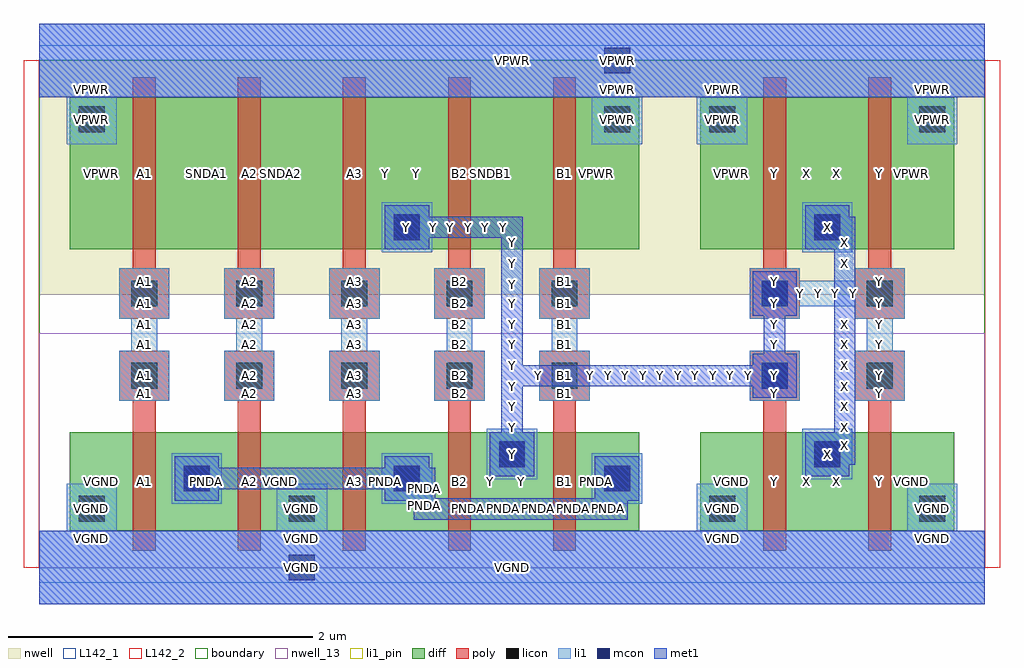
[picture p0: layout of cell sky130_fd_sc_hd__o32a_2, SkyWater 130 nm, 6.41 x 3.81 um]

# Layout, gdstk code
import gdstk
lib = gdstk.Library(unit=1e-6, precision=1e-09)
def R(c, l, rs):  # rectangles x0, y0, x1, y1
    for r in rs: c.add(gdstk.rectangle(r[:2], r[2:], *l))
def A(c, l, x, y, w, h, nx, ny, dx, dy):  # array of equal rectangles
    R(c, l, [(x+i*dx, y+j*dy, x+i*dx+w, y+j*dy+h) for i in range(nx) for j in range(ny)])
def P(c, l, *ps):  # polygons
    for p in ps: c.add(gdstk.Polygon(p, *l))
nwell_13 = (64, 13)
nwell = (64, 20)
diff = (65, 20)
poly = (66, 20)
licon = (66, 44)
li1_pin = (67, 16)
li1 = (67, 20)
mcon = (67, 44)
met1 = (68, 20)
L142_1 = (142, 1)
L142_2 = (142, 2)
boundary = (235, 4)

sky130_fd_sc_hd__o32a_2 = lib.new_cell('sky130_fd_sc_hd__o32a_2')
R(sky130_fd_sc_hd__o32a_2, nwell_13, [(0,0,6.21,1.54)])
R(sky130_fd_sc_hd__o32a_2, nwell, [(0,1.79,6.21,3.33)])
A(sky130_fd_sc_hd__o32a_2, diff, 0.615, 0.24, 0.69, 0.65, 4, 1, 0.69, 0)
A(sky130_fd_sc_hd__o32a_2, diff, 0.615, 2.09, 0.69, 1, 4, 1, 0.69, 0)
R(sky130_fd_sc_hd__o32a_2, diff, [(0.2,0.24,3.94,0.89), (0.2,0.24,0.615,0.89), (3.375,0.24,3.94,0.89), (4.34,0.24,6.01,0.89), (4.34,0.24,4.755,0.89), (4.755,0.24,5.445,0.89), (5.445,0.24,6.01,0.89), (0.2,2.09,3.94,3.09), (0.2,2.09,0.615,3.09), (3.375,2.09,3.94,3.09), (4.34,2.09,6.01,3.09), (4.34,2.09,4.755,3.09), (4.755,2.09,5.445,3.09), (5.445,2.09,6.01,3.09)])
P(sky130_fd_sc_hd__o32a_2, poly, [(2.685,0.11),(2.685,1.095),(2.595,1.095),(2.595,1.425),(2.925,1.425),(2.925,1.095),(2.835,1.095),(2.835,0.11)],
  [(2.595,1.635),(2.595,1.965),(2.685,1.965),(2.685,3.22),(2.835,3.22),(2.835,1.965),(2.925,1.965),(2.925,1.635)],
  [(4.755,0.11),(4.755,1.095),(4.665,1.095),(4.665,1.425),(4.995,1.425),(4.995,1.095),(4.905,1.095),(4.905,0.11)],
  [(5.445,0.11),(5.445,1.095),(5.355,1.095),(5.355,1.425),(5.685,1.425),(5.685,1.095),(5.595,1.095),(5.595,0.11)],
  [(4.665,1.635),(4.665,1.965),(4.755,1.965),(4.755,3.22),(4.905,3.22),(4.905,1.965),(4.995,1.965),(4.995,1.635)],
  [(5.355,1.635),(5.355,1.965),(5.445,1.965),(5.445,3.22),(5.595,3.22),(5.595,1.965),(5.685,1.965),(5.685,1.635)],
  [(1.305,0.11),(1.305,1.095),(1.215,1.095),(1.215,1.425),(1.545,1.425),(1.545,1.095),(1.455,1.095),(1.455,0.11)],
  [(1.215,1.635),(1.215,1.965),(1.305,1.965),(1.305,3.22),(1.455,3.22),(1.455,1.965),(1.545,1.965),(1.545,1.635)],
  [(0.615,0.11),(0.615,1.095),(0.525,1.095),(0.525,1.425),(0.855,1.425),(0.855,1.095),(0.765,1.095),(0.765,0.11)],
  [(0.525,1.635),(0.525,1.965),(0.615,1.965),(0.615,3.22),(0.765,3.22),(0.765,1.965),(0.855,1.965),(0.855,1.635)],
  [(1.995,0.11),(1.995,1.095),(1.905,1.095),(1.905,1.425),(2.235,1.425),(2.235,1.095),(2.145,1.095),(2.145,0.11)],
  [(1.905,1.635),(1.905,1.965),(1.995,1.965),(1.995,3.22),(2.145,3.22),(2.145,1.965),(2.235,1.965),(2.235,1.635)],
  [(3.375,0.11),(3.375,1.095),(3.285,1.095),(3.285,1.425),(3.615,1.425),(3.615,1.095),(3.525,1.095),(3.525,0.11)],
  [(3.285,1.635),(3.285,1.965),(3.375,1.965),(3.375,3.22),(3.525,3.22),(3.525,1.965),(3.615,1.965),(3.615,1.635)])
A(sky130_fd_sc_hd__o32a_2, licon, 0.95, 0.5, 0.17, 0.17, 3, 1, 1.38, 0)
A(sky130_fd_sc_hd__o32a_2, licon, 0.605, 1.175, 0.17, 0.17, 5, 2, 0.69, 0.54)
R(sky130_fd_sc_hd__o32a_2, licon, [(0.26,0.3,0.43,0.47), (1.64,0.3,1.81,0.47), (4.4,0.3,4.57,0.47), (5.78,0.3,5.95,0.47), (3.02,0.66,3.19,0.83), (5.09,0.66,5.26,0.83), (4.745,1.175,4.915,1.345), (5.435,1.175,5.605,1.345), (4.745,1.715,4.915,1.885), (5.435,1.715,5.605,1.885), (2.33,2.15,2.5,2.32), (5.09,2.15,5.26,2.32), (0.26,2.86,0.43,3.03), (3.71,2.86,3.88,3.03), (4.4,2.86,4.57,3.03), (5.78,2.86,5.95,3.03)])
R(sky130_fd_sc_hd__o32a_2, li1_pin, [(0,-0.24,6.21,0.24), (5.01,0.58,5.34,0.91), (0,3.09,6.21,3.57)])
P(sky130_fd_sc_hd__o32a_2, li1_pin, [(1.215,1.095),(1.215,1.425),(1.295,1.425),(1.295,1.635),(1.215,1.635),(1.215,1.965),(1.545,1.965),(1.545,1.635),(1.465,1.635),(1.465,1.425),(1.545,1.425),(1.545,1.095)],
  [(1.905,1.095),(1.905,1.425),(1.985,1.425),(1.985,1.635),(1.905,1.635),(1.905,1.965),(2.235,1.965),(2.235,1.635),(2.155,1.635),(2.155,1.425),(2.235,1.425),(2.235,1.095)],
  [(2.595,1.095),(2.595,1.425),(2.675,1.425),(2.675,1.635),(2.595,1.635),(2.595,1.965),(2.925,1.965),(2.925,1.635),(2.845,1.635),(2.845,1.425),(2.925,1.425),(2.925,1.095)],
  [(0.525,1.095),(0.525,1.425),(0.605,1.425),(0.605,1.635),(0.525,1.635),(0.525,1.965),(0.855,1.965),(0.855,1.635),(0.775,1.635),(0.775,1.425),(0.855,1.425),(0.855,1.095)],
  [(3.285,1.095),(3.285,1.425),(3.365,1.425),(3.365,1.635),(3.285,1.635),(3.285,1.965),(3.615,1.965),(3.615,1.635),(3.535,1.635),(3.535,1.425),(3.615,1.425),(3.615,1.095)])
A(sky130_fd_sc_hd__o32a_2, li1, 0.87, 0.42, 0.33, 0.33, 3, 1, 1.38, 0)
R(sky130_fd_sc_hd__o32a_2, li1, [(2.94,0.58,3.27,0.91), (5.01,0.58,5.34,0.91), (4.665,1.095,4.995,1.425), (2.25,2.07,2.58,2.4), (5.01,2.07,5.34,2.4)])
P(sky130_fd_sc_hd__o32a_2, li1, [(2.595,1.095),(2.595,1.425),(2.675,1.425),(2.675,1.635),(2.595,1.635),(2.595,1.965),(2.925,1.965),(2.925,1.635),(2.845,1.635),(2.845,1.425),(2.925,1.425),(2.925,1.095)],
  [(5.355,1.095),(5.355,1.425),(5.435,1.425),(5.435,1.635),(5.355,1.635),(5.355,1.715),(4.995,1.715),(4.995,1.635),(4.665,1.635),(4.665,1.965),(4.995,1.965),(4.995,1.885),(5.355,1.885),(5.355,1.965),(5.685,1.965),(5.685,1.635),(5.605,1.635),(5.605,1.425),(5.685,1.425),(5.685,1.095)],
  [(1.215,1.095),(1.215,1.425),(1.295,1.425),(1.295,1.635),(1.215,1.635),(1.215,1.965),(1.545,1.965),(1.545,1.635),(1.465,1.635),(1.465,1.425),(1.545,1.425),(1.545,1.095)],
  [(0.18,2.78),(0.18,3.09),(0,3.09),(0,3.57),(6.21,3.57),(6.21,3.09),(6.03,3.09),(6.03,2.78),(5.7,2.78),(5.7,3.09),(4.65,3.09),(4.65,2.78),(4.32,2.78),(4.32,3.09),(3.96,3.09),(3.96,2.78),(3.63,2.78),(3.63,3.09),(0.51,3.09),(0.51,2.78)],
  [(0.525,1.095),(0.525,1.425),(0.605,1.425),(0.605,1.635),(0.525,1.635),(0.525,1.965),(0.855,1.965),(0.855,1.635),(0.775,1.635),(0.775,1.425),(0.855,1.425),(0.855,1.095)],
  [(0,-0.24),(0,0.24),(0.18,0.24),(0.18,0.55),(0.51,0.55),(0.51,0.24),(1.56,0.24),(1.56,0.55),(1.89,0.55),(1.89,0.24),(4.32,0.24),(4.32,0.55),(4.65,0.55),(4.65,0.24),(5.7,0.24),(5.7,0.55),(6.03,0.55),(6.03,0.24),(6.21,0.24),(6.21,-0.24)],
  [(1.905,1.095),(1.905,1.425),(1.985,1.425),(1.985,1.635),(1.905,1.635),(1.905,1.965),(2.235,1.965),(2.235,1.635),(2.155,1.635),(2.155,1.425),(2.235,1.425),(2.235,1.095)],
  [(3.285,1.095),(3.285,1.425),(3.365,1.425),(3.365,1.635),(3.285,1.635),(3.285,1.965),(3.615,1.965),(3.615,1.635),(3.535,1.635),(3.535,1.425),(3.615,1.425),(3.615,1.095)])
A(sky130_fd_sc_hd__o32a_2, mcon, 0.95, 0.5, 0.17, 0.17, 3, 1, 1.38, 0)
R(sky130_fd_sc_hd__o32a_2, mcon, [(1.64,-0.085,1.81,0.085), (3.02,0.66,3.19,0.83), (5.09,0.66,5.26,0.83), (4.745,1.175,4.915,1.345), (4.745,1.715,4.915,1.885), (2.33,2.15,2.5,2.32), (5.09,2.15,5.26,2.32), (3.71,3.245,3.88,3.415)])
R(sky130_fd_sc_hd__o32a_2, met1, [(0,-0.24,6.21,0.24), (0,3.09,6.21,3.57)])
P(sky130_fd_sc_hd__o32a_2, met1, [(2.96,0.6),(2.96,0.89),(3.035,0.89),(3.035,2.165),(2.56,2.165),(2.56,2.09),(2.27,2.09),(2.27,2.38),(2.56,2.38),(2.56,2.305),(3.175,2.305),(3.175,1.33),(4.685,1.33),(4.685,1.405),(4.76,1.405),(4.76,1.655),(4.685,1.655),(4.685,1.945),(4.975,1.945),(4.975,1.655),(4.9,1.655),(4.9,1.405),(4.975,1.405),(4.975,1.115),(4.685,1.115),(4.685,1.19),(3.175,1.19),(3.175,0.89),(3.25,0.89),(3.25,0.6)],
  [(2.46,0.315),(2.46,0.44),(2.27,0.44),(2.27,0.515),(1.18,0.515),(1.18,0.44),(0.89,0.44),(0.89,0.73),(1.18,0.73),(1.18,0.655),(2.27,0.655),(2.27,0.73),(2.56,0.73),(2.56,0.655),(2.6,0.655),(2.6,0.455),(3.65,0.455),(3.65,0.73),(3.94,0.73),(3.94,0.44),(3.865,0.44),(3.865,0.315)],
  [(5.03,0.6),(5.03,0.89),(5.22,0.89),(5.22,2.09),(5.03,2.09),(5.03,2.38),(5.32,2.38),(5.32,2.305),(5.36,2.305),(5.36,0.675),(5.32,0.675),(5.32,0.6)])
R(sky130_fd_sc_hd__o32a_2, L142_1, [(0,-0.1,6.21,0), (0,3.33,6.21,3.43)])
R(sky130_fd_sc_hd__o32a_2, L142_2, [(-0.1,0,0,3.33), (6.21,0,6.31,3.33)])
R(sky130_fd_sc_hd__o32a_2, boundary, [(0,0,6.21,3.33)])
sky130_fd_sc_hd__o32a_2.add(gdstk.Label('PNDA', (1.097,0.565), layer=65, texttype=20))
sky130_fd_sc_hd__o32a_2.add(gdstk.Label('VGND', (1.587,0.565), layer=65, texttype=20))
sky130_fd_sc_hd__o32a_2.add(gdstk.Label('VGND', (4.547,0.565), layer=65, texttype=20))
sky130_fd_sc_hd__o32a_2.add(gdstk.Label('X', (5.037,0.565), layer=65, texttype=20))
sky130_fd_sc_hd__o32a_2.add(gdstk.Label('VGND', (0.407,0.565), layer=65, texttype=20))
sky130_fd_sc_hd__o32a_2.add(gdstk.Label('PNDA', (0.897,0.565), layer=65, texttype=20))
sky130_fd_sc_hd__o32a_2.add(gdstk.Label('VGND', (1.787,0.565), layer=65, texttype=20))
sky130_fd_sc_hd__o32a_2.add(gdstk.Label('PNDA', (2.277,0.565), layer=65, texttype=20))
sky130_fd_sc_hd__o32a_2.add(gdstk.Label('X', (5.237,0.565), layer=65, texttype=20))
sky130_fd_sc_hd__o32a_2.add(gdstk.Label('VGND', (5.727,0.565), layer=65, texttype=20))
sky130_fd_sc_hd__o32a_2.add(gdstk.Label('PNDA', (2.477,0.565), layer=65, texttype=20))
sky130_fd_sc_hd__o32a_2.add(gdstk.Label('Y', (2.967,0.565), layer=65, texttype=20))
sky130_fd_sc_hd__o32a_2.add(gdstk.Label('Y', (3.167,0.565), layer=65, texttype=20))
sky130_fd_sc_hd__o32a_2.add(gdstk.Label('PNDA', (3.657,0.565), layer=65, texttype=20))
sky130_fd_sc_hd__o32a_2.add(gdstk.Label('PNDA', (1.097,0.565), layer=65, texttype=20))
sky130_fd_sc_hd__o32a_2.add(gdstk.Label('VGND', (1.587,0.565), layer=65, texttype=20))
sky130_fd_sc_hd__o32a_2.add(gdstk.Label('VGND', (4.547,0.565), layer=65, texttype=20))
sky130_fd_sc_hd__o32a_2.add(gdstk.Label('X', (5.037,0.565), layer=65, texttype=20))
sky130_fd_sc_hd__o32a_2.add(gdstk.Label('VGND', (0.407,0.565), layer=65, texttype=20))
sky130_fd_sc_hd__o32a_2.add(gdstk.Label('PNDA', (0.897,0.565), layer=65, texttype=20))
sky130_fd_sc_hd__o32a_2.add(gdstk.Label('VGND', (1.787,0.565), layer=65, texttype=20))
sky130_fd_sc_hd__o32a_2.add(gdstk.Label('PNDA', (2.277,0.565), layer=65, texttype=20))
sky130_fd_sc_hd__o32a_2.add(gdstk.Label('X', (5.237,0.565), layer=65, texttype=20))
sky130_fd_sc_hd__o32a_2.add(gdstk.Label('VGND', (5.727,0.565), layer=65, texttype=20))
sky130_fd_sc_hd__o32a_2.add(gdstk.Label('PNDA', (2.477,0.565), layer=65, texttype=20))
sky130_fd_sc_hd__o32a_2.add(gdstk.Label('Y', (2.967,0.565), layer=65, texttype=20))
sky130_fd_sc_hd__o32a_2.add(gdstk.Label('Y', (3.167,0.565), layer=65, texttype=20))
sky130_fd_sc_hd__o32a_2.add(gdstk.Label('PNDA', (3.657,0.565), layer=65, texttype=20))
sky130_fd_sc_hd__o32a_2.add(gdstk.Label('PNDA', (1.035,0.585), layer=65, texttype=20))
sky130_fd_sc_hd__o32a_2.add(gdstk.Label('PNDA', (2.415,0.585), layer=65, texttype=20))
sky130_fd_sc_hd__o32a_2.add(gdstk.Label('PNDA', (3.795,0.585), layer=65, texttype=20))
sky130_fd_sc_hd__o32a_2.add(gdstk.Label('VGND', (1.725,0.385), layer=65, texttype=20))
sky130_fd_sc_hd__o32a_2.add(gdstk.Label('VGND', (5.865,0.385), layer=65, texttype=20))
sky130_fd_sc_hd__o32a_2.add(gdstk.Label('VGND', (4.485,0.385), layer=65, texttype=20))
sky130_fd_sc_hd__o32a_2.add(gdstk.Label('VGND', (0.345,0.385), layer=65, texttype=20))
sky130_fd_sc_hd__o32a_2.add(gdstk.Label('X', (5.175,0.745), layer=65, texttype=20))
sky130_fd_sc_hd__o32a_2.add(gdstk.Label('Y', (3.105,0.745), layer=65, texttype=20))
sky130_fd_sc_hd__o32a_2.add(gdstk.Label('SNDA1', (1.097,2.59), layer=65, texttype=20))
sky130_fd_sc_hd__o32a_2.add(gdstk.Label('SNDA2', (1.587,2.59), layer=65, texttype=20))
sky130_fd_sc_hd__o32a_2.add(gdstk.Label('SNDA2', (1.787,2.59), layer=65, texttype=20))
sky130_fd_sc_hd__o32a_2.add(gdstk.Label('Y', (2.277,2.59), layer=65, texttype=20))
sky130_fd_sc_hd__o32a_2.add(gdstk.Label('Y', (2.477,2.59), layer=65, texttype=20))
sky130_fd_sc_hd__o32a_2.add(gdstk.Label('SNDB1', (2.967,2.59), layer=65, texttype=20))
sky130_fd_sc_hd__o32a_2.add(gdstk.Label('SNDB1', (3.167,2.59), layer=65, texttype=20))
sky130_fd_sc_hd__o32a_2.add(gdstk.Label('VPWR', (3.657,2.59), layer=65, texttype=20))
sky130_fd_sc_hd__o32a_2.add(gdstk.Label('VPWR', (0.407,2.59), layer=65, texttype=20))
sky130_fd_sc_hd__o32a_2.add(gdstk.Label('SNDA1', (0.897,2.59), layer=65, texttype=20))
sky130_fd_sc_hd__o32a_2.add(gdstk.Label('VPWR', (4.547,2.59), layer=65, texttype=20))
sky130_fd_sc_hd__o32a_2.add(gdstk.Label('X', (5.037,2.59), layer=65, texttype=20))
sky130_fd_sc_hd__o32a_2.add(gdstk.Label('X', (5.237,2.59), layer=65, texttype=20))
sky130_fd_sc_hd__o32a_2.add(gdstk.Label('VPWR', (5.727,2.59), layer=65, texttype=20))
sky130_fd_sc_hd__o32a_2.add(gdstk.Label('SNDA1', (1.097,2.59), layer=65, texttype=20))
sky130_fd_sc_hd__o32a_2.add(gdstk.Label('SNDA2', (1.587,2.59), layer=65, texttype=20))
sky130_fd_sc_hd__o32a_2.add(gdstk.Label('SNDA2', (1.787,2.59), layer=65, texttype=20))
sky130_fd_sc_hd__o32a_2.add(gdstk.Label('Y', (2.277,2.59), layer=65, texttype=20))
sky130_fd_sc_hd__o32a_2.add(gdstk.Label('Y', (2.477,2.59), layer=65, texttype=20))
sky130_fd_sc_hd__o32a_2.add(gdstk.Label('SNDB1', (2.967,2.59), layer=65, texttype=20))
sky130_fd_sc_hd__o32a_2.add(gdstk.Label('SNDB1', (3.167,2.59), layer=65, texttype=20))
sky130_fd_sc_hd__o32a_2.add(gdstk.Label('VPWR', (3.657,2.59), layer=65, texttype=20))
sky130_fd_sc_hd__o32a_2.add(gdstk.Label('VPWR', (0.407,2.59), layer=65, texttype=20))
sky130_fd_sc_hd__o32a_2.add(gdstk.Label('SNDA1', (0.897,2.59), layer=65, texttype=20))
sky130_fd_sc_hd__o32a_2.add(gdstk.Label('VPWR', (4.547,2.59), layer=65, texttype=20))
sky130_fd_sc_hd__o32a_2.add(gdstk.Label('X', (5.037,2.59), layer=65, texttype=20))
sky130_fd_sc_hd__o32a_2.add(gdstk.Label('X', (5.237,2.59), layer=65, texttype=20))
sky130_fd_sc_hd__o32a_2.add(gdstk.Label('VPWR', (5.727,2.59), layer=65, texttype=20))
sky130_fd_sc_hd__o32a_2.add(gdstk.Label('X', (5.175,2.235), layer=65, texttype=20))
sky130_fd_sc_hd__o32a_2.add(gdstk.Label('Y', (2.415,2.235), layer=65, texttype=20))
sky130_fd_sc_hd__o32a_2.add(gdstk.Label('VPWR', (3.795,2.945), layer=65, texttype=20))
sky130_fd_sc_hd__o32a_2.add(gdstk.Label('VPWR', (5.865,2.945), layer=65, texttype=20))
sky130_fd_sc_hd__o32a_2.add(gdstk.Label('VPWR', (4.485,2.945), layer=65, texttype=20))
sky130_fd_sc_hd__o32a_2.add(gdstk.Label('VPWR', (0.345,2.945), layer=65, texttype=20))
sky130_fd_sc_hd__o32a_2.add(gdstk.Label('A2', (1.38,0.565), layer=66, texttype=20))
sky130_fd_sc_hd__o32a_2.add(gdstk.Label('A2', (1.38,2.59), layer=66, texttype=20))
sky130_fd_sc_hd__o32a_2.add(gdstk.Label('A3', (2.07,2.59), layer=66, texttype=20))
sky130_fd_sc_hd__o32a_2.add(gdstk.Label('B2', (2.76,2.59), layer=66, texttype=20))
sky130_fd_sc_hd__o32a_2.add(gdstk.Label('Y', (4.83,0.565), layer=66, texttype=20))
sky130_fd_sc_hd__o32a_2.add(gdstk.Label('A1', (0.69,0.565), layer=66, texttype=20))
sky130_fd_sc_hd__o32a_2.add(gdstk.Label('A3', (2.07,0.565), layer=66, texttype=20))
sky130_fd_sc_hd__o32a_2.add(gdstk.Label('B1', (3.45,2.59), layer=66, texttype=20))
sky130_fd_sc_hd__o32a_2.add(gdstk.Label('Y', (5.52,0.565), layer=66, texttype=20))
sky130_fd_sc_hd__o32a_2.add(gdstk.Label('B2', (2.76,0.565), layer=66, texttype=20))
sky130_fd_sc_hd__o32a_2.add(gdstk.Label('A1', (0.69,2.59), layer=66, texttype=20))
sky130_fd_sc_hd__o32a_2.add(gdstk.Label('B1', (3.45,0.565), layer=66, texttype=20))
sky130_fd_sc_hd__o32a_2.add(gdstk.Label('Y', (4.83,2.59), layer=66, texttype=20))
sky130_fd_sc_hd__o32a_2.add(gdstk.Label('Y', (5.52,2.59), layer=66, texttype=20))
sky130_fd_sc_hd__o32a_2.add(gdstk.Label('A2', (1.38,0.565), layer=66, texttype=20))
sky130_fd_sc_hd__o32a_2.add(gdstk.Label('A2', (1.38,2.59), layer=66, texttype=20))
sky130_fd_sc_hd__o32a_2.add(gdstk.Label('A3', (2.07,2.59), layer=66, texttype=20))
sky130_fd_sc_hd__o32a_2.add(gdstk.Label('B2', (2.76,2.59), layer=66, texttype=20))
sky130_fd_sc_hd__o32a_2.add(gdstk.Label('Y', (4.83,0.565), layer=66, texttype=20))
sky130_fd_sc_hd__o32a_2.add(gdstk.Label('A1', (0.69,0.565), layer=66, texttype=20))
sky130_fd_sc_hd__o32a_2.add(gdstk.Label('A3', (2.07,0.565), layer=66, texttype=20))
sky130_fd_sc_hd__o32a_2.add(gdstk.Label('B1', (3.45,2.59), layer=66, texttype=20))
sky130_fd_sc_hd__o32a_2.add(gdstk.Label('Y', (5.52,0.565), layer=66, texttype=20))
sky130_fd_sc_hd__o32a_2.add(gdstk.Label('B2', (2.76,0.565), layer=66, texttype=20))
sky130_fd_sc_hd__o32a_2.add(gdstk.Label('A1', (0.69,2.59), layer=66, texttype=20))
sky130_fd_sc_hd__o32a_2.add(gdstk.Label('B1', (3.45,0.565), layer=66, texttype=20))
sky130_fd_sc_hd__o32a_2.add(gdstk.Label('Y', (4.83,2.59), layer=66, texttype=20))
sky130_fd_sc_hd__o32a_2.add(gdstk.Label('Y', (5.52,2.59), layer=66, texttype=20))
sky130_fd_sc_hd__o32a_2.add(gdstk.Label('Y', (4.83,1.14), layer=66, texttype=20))
sky130_fd_sc_hd__o32a_2.add(gdstk.Label('Y', (4.83,1.88), layer=66, texttype=20))
sky130_fd_sc_hd__o32a_2.add(gdstk.Label('Y', (5.52,1.88), layer=66, texttype=20))
sky130_fd_sc_hd__o32a_2.add(gdstk.Label('Y', (5.52,1.14), layer=66, texttype=20))
sky130_fd_sc_hd__o32a_2.add(gdstk.Label('A2', (1.38,1.14), layer=66, texttype=20))
sky130_fd_sc_hd__o32a_2.add(gdstk.Label('A2', (1.38,1.88), layer=66, texttype=20))
sky130_fd_sc_hd__o32a_2.add(gdstk.Label('A3', (2.07,1.88), layer=66, texttype=20))
sky130_fd_sc_hd__o32a_2.add(gdstk.Label('A3', (2.07,1.14), layer=66, texttype=20))
sky130_fd_sc_hd__o32a_2.add(gdstk.Label('B2', (2.76,1.88), layer=66, texttype=20))
sky130_fd_sc_hd__o32a_2.add(gdstk.Label('B2', (2.76,1.14), layer=66, texttype=20))
sky130_fd_sc_hd__o32a_2.add(gdstk.Label('A1', (0.69,1.14), layer=66, texttype=20))
sky130_fd_sc_hd__o32a_2.add(gdstk.Label('A1', (0.69,1.88), layer=66, texttype=20))
sky130_fd_sc_hd__o32a_2.add(gdstk.Label('B1', (3.45,1.88), layer=66, texttype=20))
sky130_fd_sc_hd__o32a_2.add(gdstk.Label('B1', (3.45,1.14), layer=66, texttype=20))
sky130_fd_sc_hd__o32a_2.add(gdstk.Label('Y', (4.83,1.26), layer=66, texttype=20))
sky130_fd_sc_hd__o32a_2.add(gdstk.Label('Y', (4.83,1.8), layer=66, texttype=20))
sky130_fd_sc_hd__o32a_2.add(gdstk.Label('Y', (5.52,1.8), layer=66, texttype=20))
sky130_fd_sc_hd__o32a_2.add(gdstk.Label('Y', (5.52,1.26), layer=66, texttype=20))
sky130_fd_sc_hd__o32a_2.add(gdstk.Label('A2', (1.38,1.26), layer=66, texttype=20))
sky130_fd_sc_hd__o32a_2.add(gdstk.Label('A2', (1.38,1.8), layer=66, texttype=20))
sky130_fd_sc_hd__o32a_2.add(gdstk.Label('A3', (2.07,1.8), layer=66, texttype=20))
sky130_fd_sc_hd__o32a_2.add(gdstk.Label('A3', (2.07,1.26), layer=66, texttype=20))
sky130_fd_sc_hd__o32a_2.add(gdstk.Label('B2', (2.76,1.8), layer=66, texttype=20))
sky130_fd_sc_hd__o32a_2.add(gdstk.Label('B2', (2.76,1.26), layer=66, texttype=20))
sky130_fd_sc_hd__o32a_2.add(gdstk.Label('A1', (0.69,1.26), layer=66, texttype=20))
sky130_fd_sc_hd__o32a_2.add(gdstk.Label('A1', (0.69,1.8), layer=66, texttype=20))
sky130_fd_sc_hd__o32a_2.add(gdstk.Label('B1', (3.45,1.8), layer=66, texttype=20))
sky130_fd_sc_hd__o32a_2.add(gdstk.Label('B1', (3.45,1.26), layer=66, texttype=20))
sky130_fd_sc_hd__o32a_2.add(gdstk.Label('X', (5.175,2.235), layer=66, texttype=44))
sky130_fd_sc_hd__o32a_2.add(gdstk.Label('Y', (2.415,2.235), layer=66, texttype=44))
sky130_fd_sc_hd__o32a_2.add(gdstk.Label('VPWR', (3.795,2.945), layer=66, texttype=44))
sky130_fd_sc_hd__o32a_2.add(gdstk.Label('VPWR', (5.865,2.945), layer=66, texttype=44))
sky130_fd_sc_hd__o32a_2.add(gdstk.Label('VPWR', (4.485,2.945), layer=66, texttype=44))
sky130_fd_sc_hd__o32a_2.add(gdstk.Label('VPWR', (0.345,2.945), layer=66, texttype=44))
sky130_fd_sc_hd__o32a_2.add(gdstk.Label('PNDA', (1.035,0.585), layer=66, texttype=44))
sky130_fd_sc_hd__o32a_2.add(gdstk.Label('PNDA', (2.415,0.585), layer=66, texttype=44))
sky130_fd_sc_hd__o32a_2.add(gdstk.Label('PNDA', (3.795,0.585), layer=66, texttype=44))
sky130_fd_sc_hd__o32a_2.add(gdstk.Label('VGND', (1.725,0.385), layer=66, texttype=44))
sky130_fd_sc_hd__o32a_2.add(gdstk.Label('VGND', (5.865,0.385), layer=66, texttype=44))
sky130_fd_sc_hd__o32a_2.add(gdstk.Label('VGND', (4.485,0.385), layer=66, texttype=44))
sky130_fd_sc_hd__o32a_2.add(gdstk.Label('VGND', (0.345,0.385), layer=66, texttype=44))
sky130_fd_sc_hd__o32a_2.add(gdstk.Label('X', (5.175,0.745), layer=66, texttype=44))
sky130_fd_sc_hd__o32a_2.add(gdstk.Label('Y', (3.105,0.745), layer=66, texttype=44))
sky130_fd_sc_hd__o32a_2.add(gdstk.Label('Y', (4.83,1.26), layer=66, texttype=44))
sky130_fd_sc_hd__o32a_2.add(gdstk.Label('Y', (4.83,1.8), layer=66, texttype=44))
sky130_fd_sc_hd__o32a_2.add(gdstk.Label('Y', (5.52,1.8), layer=66, texttype=44))
sky130_fd_sc_hd__o32a_2.add(gdstk.Label('Y', (5.52,1.26), layer=66, texttype=44))
sky130_fd_sc_hd__o32a_2.add(gdstk.Label('A2', (1.38,1.26), layer=66, texttype=44))
sky130_fd_sc_hd__o32a_2.add(gdstk.Label('A2', (1.38,1.8), layer=66, texttype=44))
sky130_fd_sc_hd__o32a_2.add(gdstk.Label('A3', (2.07,1.8), layer=66, texttype=44))
sky130_fd_sc_hd__o32a_2.add(gdstk.Label('A3', (2.07,1.26), layer=66, texttype=44))
sky130_fd_sc_hd__o32a_2.add(gdstk.Label('B2', (2.76,1.8), layer=66, texttype=44))
sky130_fd_sc_hd__o32a_2.add(gdstk.Label('B2', (2.76,1.26), layer=66, texttype=44))
sky130_fd_sc_hd__o32a_2.add(gdstk.Label('A1', (0.69,1.26), layer=66, texttype=44))
sky130_fd_sc_hd__o32a_2.add(gdstk.Label('A1', (0.69,1.8), layer=66, texttype=44))
sky130_fd_sc_hd__o32a_2.add(gdstk.Label('B1', (3.45,1.8), layer=66, texttype=44))
sky130_fd_sc_hd__o32a_2.add(gdstk.Label('B1', (3.45,1.26), layer=66, texttype=44))
sky130_fd_sc_hd__o32a_2.add(gdstk.Label('VPWR', (3.105,3.33), layer=67, texttype=20))
sky130_fd_sc_hd__o32a_2.add(gdstk.Label('VGND', (3.105,0), layer=67, texttype=20))
sky130_fd_sc_hd__o32a_2.add(gdstk.Label('VPWR', (3.105,3.33), layer=67, texttype=20))
sky130_fd_sc_hd__o32a_2.add(gdstk.Label('VGND', (3.105,0), layer=67, texttype=20))
sky130_fd_sc_hd__o32a_2.add(gdstk.Label('VGND', (1.725,0.192), layer=67, texttype=20))
sky130_fd_sc_hd__o32a_2.add(gdstk.Label('VGND', (5.865,0.192), layer=67, texttype=20))
sky130_fd_sc_hd__o32a_2.add(gdstk.Label('VGND', (4.485,0.192), layer=67, texttype=20))
sky130_fd_sc_hd__o32a_2.add(gdstk.Label('VGND', (0.345,0.192), layer=67, texttype=20))
sky130_fd_sc_hd__o32a_2.add(gdstk.Label('Y', (4.887,1.8), layer=67, texttype=20))
sky130_fd_sc_hd__o32a_2.add(gdstk.Label('Y', (5.002,1.8), layer=67, texttype=20))
sky130_fd_sc_hd__o32a_2.add(gdstk.Label('Y', (5.117,1.8), layer=67, texttype=20))
sky130_fd_sc_hd__o32a_2.add(gdstk.Label('Y', (5.232,1.8), layer=67, texttype=20))
sky130_fd_sc_hd__o32a_2.add(gdstk.Label('Y', (5.347,1.8), layer=67, texttype=20))
sky130_fd_sc_hd__o32a_2.add(gdstk.Label('Y', (5.462,1.8), layer=67, texttype=20))
sky130_fd_sc_hd__o32a_2.add(gdstk.Label('Y', (5.52,1.732), layer=67, texttype=20))
sky130_fd_sc_hd__o32a_2.add(gdstk.Label('Y', (5.52,1.597), layer=67, texttype=20))
sky130_fd_sc_hd__o32a_2.add(gdstk.Label('Y', (5.52,1.462), layer=67, texttype=20))
sky130_fd_sc_hd__o32a_2.add(gdstk.Label('Y', (5.52,1.327), layer=67, texttype=20))
sky130_fd_sc_hd__o32a_2.add(gdstk.Label('VPWR', (3.795,3.137), layer=67, texttype=20))
sky130_fd_sc_hd__o32a_2.add(gdstk.Label('VPWR', (5.865,3.137), layer=67, texttype=20))
sky130_fd_sc_hd__o32a_2.add(gdstk.Label('VPWR', (4.485,3.137), layer=67, texttype=20))
sky130_fd_sc_hd__o32a_2.add(gdstk.Label('VPWR', (0.345,3.137), layer=67, texttype=20))
sky130_fd_sc_hd__o32a_2.add(gdstk.Label('A2', (1.38,1.327), layer=67, texttype=20))
sky130_fd_sc_hd__o32a_2.add(gdstk.Label('A2', (1.38,1.462), layer=67, texttype=20))
sky130_fd_sc_hd__o32a_2.add(gdstk.Label('A2', (1.38,1.597), layer=67, texttype=20))
sky130_fd_sc_hd__o32a_2.add(gdstk.Label('A2', (1.38,1.732), layer=67, texttype=20))
sky130_fd_sc_hd__o32a_2.add(gdstk.Label('A3', (2.07,1.732), layer=67, texttype=20))
sky130_fd_sc_hd__o32a_2.add(gdstk.Label('A3', (2.07,1.597), layer=67, texttype=20))
sky130_fd_sc_hd__o32a_2.add(gdstk.Label('A3', (2.07,1.462), layer=67, texttype=20))
sky130_fd_sc_hd__o32a_2.add(gdstk.Label('A3', (2.07,1.327), layer=67, texttype=20))
sky130_fd_sc_hd__o32a_2.add(gdstk.Label('B2', (2.76,1.732), layer=67, texttype=20))
sky130_fd_sc_hd__o32a_2.add(gdstk.Label('B2', (2.76,1.597), layer=67, texttype=20))
sky130_fd_sc_hd__o32a_2.add(gdstk.Label('B2', (2.76,1.462), layer=67, texttype=20))
sky130_fd_sc_hd__o32a_2.add(gdstk.Label('B2', (2.76,1.327), layer=67, texttype=20))
sky130_fd_sc_hd__o32a_2.add(gdstk.Label('A1', (0.69,1.327), layer=67, texttype=20))
sky130_fd_sc_hd__o32a_2.add(gdstk.Label('A1', (0.69,1.462), layer=67, texttype=20))
sky130_fd_sc_hd__o32a_2.add(gdstk.Label('A1', (0.69,1.597), layer=67, texttype=20))
sky130_fd_sc_hd__o32a_2.add(gdstk.Label('A1', (0.69,1.732), layer=67, texttype=20))
sky130_fd_sc_hd__o32a_2.add(gdstk.Label('B1', (3.45,1.732), layer=67, texttype=20))
sky130_fd_sc_hd__o32a_2.add(gdstk.Label('B1', (3.45,1.597), layer=67, texttype=20))
sky130_fd_sc_hd__o32a_2.add(gdstk.Label('B1', (3.45,1.462), layer=67, texttype=20))
sky130_fd_sc_hd__o32a_2.add(gdstk.Label('B1', (3.45,1.327), layer=67, texttype=20))
sky130_fd_sc_hd__o32a_2.add(gdstk.Label('PNDA', (1.035,0.585), layer=67, texttype=20))
sky130_fd_sc_hd__o32a_2.add(gdstk.Label('PNDA', (1.035,0.585), layer=67, texttype=20))
sky130_fd_sc_hd__o32a_2.add(gdstk.Label('PNDA', (2.415,0.585), layer=67, texttype=20))
sky130_fd_sc_hd__o32a_2.add(gdstk.Label('PNDA', (2.415,0.585), layer=67, texttype=20))
sky130_fd_sc_hd__o32a_2.add(gdstk.Label('PNDA', (3.795,0.585), layer=67, texttype=20))
sky130_fd_sc_hd__o32a_2.add(gdstk.Label('PNDA', (3.795,0.585), layer=67, texttype=20))
sky130_fd_sc_hd__o32a_2.add(gdstk.Label('VGND', (1.725,0.385), layer=67, texttype=20))
sky130_fd_sc_hd__o32a_2.add(gdstk.Label('VGND', (1.725,0), layer=67, texttype=20))
sky130_fd_sc_hd__o32a_2.add(gdstk.Label('VGND', (5.865,0.385), layer=67, texttype=20))
sky130_fd_sc_hd__o32a_2.add(gdstk.Label('VGND', (4.485,0.385), layer=67, texttype=20))
sky130_fd_sc_hd__o32a_2.add(gdstk.Label('VGND', (0.345,0.385), layer=67, texttype=20))
sky130_fd_sc_hd__o32a_2.add(gdstk.Label('X', (5.175,0.745), layer=67, texttype=20))
sky130_fd_sc_hd__o32a_2.add(gdstk.Label('X', (5.175,0.745), layer=67, texttype=20))
sky130_fd_sc_hd__o32a_2.add(gdstk.Label('X', (5.175,2.235), layer=67, texttype=20))
sky130_fd_sc_hd__o32a_2.add(gdstk.Label('X', (5.175,2.235), layer=67, texttype=20))
sky130_fd_sc_hd__o32a_2.add(gdstk.Label('Y', (3.105,0.745), layer=67, texttype=20))
sky130_fd_sc_hd__o32a_2.add(gdstk.Label('Y', (3.105,0.745), layer=67, texttype=20))
sky130_fd_sc_hd__o32a_2.add(gdstk.Label('Y', (2.415,2.235), layer=67, texttype=20))
sky130_fd_sc_hd__o32a_2.add(gdstk.Label('Y', (2.415,2.235), layer=67, texttype=20))
sky130_fd_sc_hd__o32a_2.add(gdstk.Label('Y', (4.83,1.26), layer=67, texttype=20))
sky130_fd_sc_hd__o32a_2.add(gdstk.Label('Y', (4.83,1.26), layer=67, texttype=20))
sky130_fd_sc_hd__o32a_2.add(gdstk.Label('Y', (4.83,1.8), layer=67, texttype=20))
sky130_fd_sc_hd__o32a_2.add(gdstk.Label('Y', (4.83,1.8), layer=67, texttype=20))
sky130_fd_sc_hd__o32a_2.add(gdstk.Label('Y', (5.52,1.8), layer=67, texttype=20))
sky130_fd_sc_hd__o32a_2.add(gdstk.Label('Y', (5.52,1.26), layer=67, texttype=20))
sky130_fd_sc_hd__o32a_2.add(gdstk.Label('VPWR', (3.795,2.945), layer=67, texttype=20))
sky130_fd_sc_hd__o32a_2.add(gdstk.Label('VPWR', (3.795,3.33), layer=67, texttype=20))
sky130_fd_sc_hd__o32a_2.add(gdstk.Label('VPWR', (5.865,2.945), layer=67, texttype=20))
sky130_fd_sc_hd__o32a_2.add(gdstk.Label('VPWR', (4.485,2.945), layer=67, texttype=20))
sky130_fd_sc_hd__o32a_2.add(gdstk.Label('VPWR', (0.345,2.945), layer=67, texttype=20))
sky130_fd_sc_hd__o32a_2.add(gdstk.Label('A2', (1.38,1.26), layer=67, texttype=20))
sky130_fd_sc_hd__o32a_2.add(gdstk.Label('A2', (1.38,1.8), layer=67, texttype=20))
sky130_fd_sc_hd__o32a_2.add(gdstk.Label('A3', (2.07,1.8), layer=67, texttype=20))
sky130_fd_sc_hd__o32a_2.add(gdstk.Label('A3', (2.07,1.26), layer=67, texttype=20))
sky130_fd_sc_hd__o32a_2.add(gdstk.Label('B2', (2.76,1.8), layer=67, texttype=20))
sky130_fd_sc_hd__o32a_2.add(gdstk.Label('B2', (2.76,1.26), layer=67, texttype=20))
sky130_fd_sc_hd__o32a_2.add(gdstk.Label('A1', (0.69,1.26), layer=67, texttype=20))
sky130_fd_sc_hd__o32a_2.add(gdstk.Label('A1', (0.69,1.8), layer=67, texttype=20))
sky130_fd_sc_hd__o32a_2.add(gdstk.Label('B1', (3.45,1.8), layer=67, texttype=20))
sky130_fd_sc_hd__o32a_2.add(gdstk.Label('B1', (3.45,1.26), layer=67, texttype=20))
sky130_fd_sc_hd__o32a_2.add(gdstk.Label('X', (5.175,0.745), layer=67, texttype=5))
sky130_fd_sc_hd__o32a_2.add(gdstk.Label('A2', (1.38,1.26), layer=67, texttype=5))
sky130_fd_sc_hd__o32a_2.add(gdstk.Label('A3', (2.07,1.26), layer=67, texttype=5))
sky130_fd_sc_hd__o32a_2.add(gdstk.Label('B2', (2.76,1.26), layer=67, texttype=5))
sky130_fd_sc_hd__o32a_2.add(gdstk.Label('A1', (0.69,1.26), layer=67, texttype=5))
sky130_fd_sc_hd__o32a_2.add(gdstk.Label('B1', (3.45,1.26), layer=67, texttype=5))
sky130_fd_sc_hd__o32a_2.add(gdstk.Label('VGND', (3.105,0), layer=67, texttype=5))
sky130_fd_sc_hd__o32a_2.add(gdstk.Label('VPWR', (3.105,3.33), layer=67, texttype=5))
sky130_fd_sc_hd__o32a_2.add(gdstk.Label('PNDA', (1.035,0.585), layer=67, texttype=44))
sky130_fd_sc_hd__o32a_2.add(gdstk.Label('PNDA', (2.415,0.585), layer=67, texttype=44))
sky130_fd_sc_hd__o32a_2.add(gdstk.Label('PNDA', (3.795,0.585), layer=67, texttype=44))
sky130_fd_sc_hd__o32a_2.add(gdstk.Label('VGND', (1.725,0), layer=67, texttype=44))
sky130_fd_sc_hd__o32a_2.add(gdstk.Label('X', (5.175,0.745), layer=67, texttype=44))
sky130_fd_sc_hd__o32a_2.add(gdstk.Label('X', (5.175,2.235), layer=67, texttype=44))
sky130_fd_sc_hd__o32a_2.add(gdstk.Label('Y', (3.105,0.745), layer=67, texttype=44))
sky130_fd_sc_hd__o32a_2.add(gdstk.Label('Y', (2.415,2.235), layer=67, texttype=44))
sky130_fd_sc_hd__o32a_2.add(gdstk.Label('Y', (4.83,1.26), layer=67, texttype=44))
sky130_fd_sc_hd__o32a_2.add(gdstk.Label('Y', (4.83,1.8), layer=67, texttype=44))
sky130_fd_sc_hd__o32a_2.add(gdstk.Label('VPWR', (3.795,3.33), layer=67, texttype=44))
sky130_fd_sc_hd__o32a_2.add(gdstk.Label('VPWR', (3.105,3.33), layer=68, texttype=20))
sky130_fd_sc_hd__o32a_2.add(gdstk.Label('VGND', (3.105,0), layer=68, texttype=20))
sky130_fd_sc_hd__o32a_2.add(gdstk.Label('VPWR', (3.105,3.33), layer=68, texttype=20))
sky130_fd_sc_hd__o32a_2.add(gdstk.Label('VGND', (3.105,0), layer=68, texttype=20))
sky130_fd_sc_hd__o32a_2.add(gdstk.Label('PNDA', (1.092,0.585), layer=68, texttype=20))
sky130_fd_sc_hd__o32a_2.add(gdstk.Label('PNDA', (1.207,0.585), layer=68, texttype=20))
sky130_fd_sc_hd__o32a_2.add(gdstk.Label('PNDA', (1.322,0.585), layer=68, texttype=20))
sky130_fd_sc_hd__o32a_2.add(gdstk.Label('PNDA', (1.437,0.585), layer=68, texttype=20))
sky130_fd_sc_hd__o32a_2.add(gdstk.Label('PNDA', (1.552,0.585), layer=68, texttype=20))
sky130_fd_sc_hd__o32a_2.add(gdstk.Label('PNDA', (1.667,0.585), layer=68, texttype=20))
sky130_fd_sc_hd__o32a_2.add(gdstk.Label('PNDA', (1.782,0.585), layer=68, texttype=20))
sky130_fd_sc_hd__o32a_2.add(gdstk.Label('PNDA', (1.897,0.585), layer=68, texttype=20))
sky130_fd_sc_hd__o32a_2.add(gdstk.Label('PNDA', (2.012,0.585), layer=68, texttype=20))
sky130_fd_sc_hd__o32a_2.add(gdstk.Label('PNDA', (2.127,0.585), layer=68, texttype=20))
sky130_fd_sc_hd__o32a_2.add(gdstk.Label('PNDA', (2.242,0.585), layer=68, texttype=20))
sky130_fd_sc_hd__o32a_2.add(gdstk.Label('PNDA', (2.357,0.585), layer=68, texttype=20))
sky130_fd_sc_hd__o32a_2.add(gdstk.Label('PNDA', (2.472,0.585), layer=68, texttype=20))
sky130_fd_sc_hd__o32a_2.add(gdstk.Label('PNDA', (2.53,0.517), layer=68, texttype=20))
sky130_fd_sc_hd__o32a_2.add(gdstk.Label('PNDA', (2.53,0.437), layer=68, texttype=20))
sky130_fd_sc_hd__o32a_2.add(gdstk.Label('PNDA', (2.53,0.405), layer=68, texttype=20))
sky130_fd_sc_hd__o32a_2.add(gdstk.Label('PNDA', (2.587,0.385), layer=68, texttype=20))
sky130_fd_sc_hd__o32a_2.add(gdstk.Label('PNDA', (2.702,0.385), layer=68, texttype=20))
sky130_fd_sc_hd__o32a_2.add(gdstk.Label('PNDA', (2.817,0.385), layer=68, texttype=20))
sky130_fd_sc_hd__o32a_2.add(gdstk.Label('PNDA', (2.932,0.385), layer=68, texttype=20))
sky130_fd_sc_hd__o32a_2.add(gdstk.Label('PNDA', (3.047,0.385), layer=68, texttype=20))
sky130_fd_sc_hd__o32a_2.add(gdstk.Label('PNDA', (3.162,0.385), layer=68, texttype=20))
sky130_fd_sc_hd__o32a_2.add(gdstk.Label('PNDA', (3.277,0.385), layer=68, texttype=20))
sky130_fd_sc_hd__o32a_2.add(gdstk.Label('PNDA', (3.392,0.385), layer=68, texttype=20))
sky130_fd_sc_hd__o32a_2.add(gdstk.Label('PNDA', (3.507,0.385), layer=68, texttype=20))
sky130_fd_sc_hd__o32a_2.add(gdstk.Label('PNDA', (3.622,0.385), layer=68, texttype=20))
sky130_fd_sc_hd__o32a_2.add(gdstk.Label('PNDA', (3.737,0.385), layer=68, texttype=20))
sky130_fd_sc_hd__o32a_2.add(gdstk.Label('PNDA', (3.795,0.405), layer=68, texttype=20))
sky130_fd_sc_hd__o32a_2.add(gdstk.Label('PNDA', (3.795,0.437), layer=68, texttype=20))
sky130_fd_sc_hd__o32a_2.add(gdstk.Label('PNDA', (3.795,0.517), layer=68, texttype=20))
sky130_fd_sc_hd__o32a_2.add(gdstk.Label('X', (5.232,0.745), layer=68, texttype=20))
sky130_fd_sc_hd__o32a_2.add(gdstk.Label('X', (5.29,0.8), layer=68, texttype=20))
sky130_fd_sc_hd__o32a_2.add(gdstk.Label('X', (5.29,0.922), layer=68, texttype=20))
sky130_fd_sc_hd__o32a_2.add(gdstk.Label('X', (5.29,1.057), layer=68, texttype=20))
sky130_fd_sc_hd__o32a_2.add(gdstk.Label('X', (5.29,1.192), layer=68, texttype=20))
sky130_fd_sc_hd__o32a_2.add(gdstk.Label('X', (5.29,1.327), layer=68, texttype=20))
sky130_fd_sc_hd__o32a_2.add(gdstk.Label('X', (5.29,1.462), layer=68, texttype=20))
sky130_fd_sc_hd__o32a_2.add(gdstk.Label('X', (5.29,1.597), layer=68, texttype=20))
sky130_fd_sc_hd__o32a_2.add(gdstk.Label('X', (5.29,1.732), layer=68, texttype=20))
sky130_fd_sc_hd__o32a_2.add(gdstk.Label('X', (5.29,1.862), layer=68, texttype=20))
sky130_fd_sc_hd__o32a_2.add(gdstk.Label('X', (5.29,1.997), layer=68, texttype=20))
sky130_fd_sc_hd__o32a_2.add(gdstk.Label('X', (5.29,2.137), layer=68, texttype=20))
sky130_fd_sc_hd__o32a_2.add(gdstk.Label('X', (5.29,2.22), layer=68, texttype=20))
sky130_fd_sc_hd__o32a_2.add(gdstk.Label('X', (5.232,2.235), layer=68, texttype=20))
sky130_fd_sc_hd__o32a_2.add(gdstk.Label('Y', (3.105,0.8), layer=68, texttype=20))
sky130_fd_sc_hd__o32a_2.add(gdstk.Label('Y', (3.105,0.922), layer=68, texttype=20))
sky130_fd_sc_hd__o32a_2.add(gdstk.Label('Y', (3.105,1.057), layer=68, texttype=20))
sky130_fd_sc_hd__o32a_2.add(gdstk.Label('Y', (3.105,1.192), layer=68, texttype=20))
sky130_fd_sc_hd__o32a_2.add(gdstk.Label('Y', (3.105,1.327), layer=68, texttype=20))
sky130_fd_sc_hd__o32a_2.add(gdstk.Label('Y', (3.162,1.26), layer=68, texttype=20))
sky130_fd_sc_hd__o32a_2.add(gdstk.Label('Y', (3.105,1.462), layer=68, texttype=20))
sky130_fd_sc_hd__o32a_2.add(gdstk.Label('Y', (3.105,1.597), layer=68, texttype=20))
sky130_fd_sc_hd__o32a_2.add(gdstk.Label('Y', (3.105,1.732), layer=68, texttype=20))
sky130_fd_sc_hd__o32a_2.add(gdstk.Label('Y', (3.105,1.862), layer=68, texttype=20))
sky130_fd_sc_hd__o32a_2.add(gdstk.Label('Y', (3.105,1.997), layer=68, texttype=20))
sky130_fd_sc_hd__o32a_2.add(gdstk.Label('Y', (3.105,2.137), layer=68, texttype=20))
sky130_fd_sc_hd__o32a_2.add(gdstk.Label('Y', (3.105,2.22), layer=68, texttype=20))
sky130_fd_sc_hd__o32a_2.add(gdstk.Label('Y', (3.047,2.235), layer=68, texttype=20))
sky130_fd_sc_hd__o32a_2.add(gdstk.Label('Y', (2.932,2.235), layer=68, texttype=20))
sky130_fd_sc_hd__o32a_2.add(gdstk.Label('Y', (2.817,2.235), layer=68, texttype=20))
sky130_fd_sc_hd__o32a_2.add(gdstk.Label('Y', (2.702,2.235), layer=68, texttype=20))
sky130_fd_sc_hd__o32a_2.add(gdstk.Label('Y', (2.587,2.235), layer=68, texttype=20))
sky130_fd_sc_hd__o32a_2.add(gdstk.Label('Y', (2.472,2.235), layer=68, texttype=20))
sky130_fd_sc_hd__o32a_2.add(gdstk.Label('Y', (3.277,1.26), layer=68, texttype=20))
sky130_fd_sc_hd__o32a_2.add(gdstk.Label('Y', (3.392,1.26), layer=68, texttype=20))
sky130_fd_sc_hd__o32a_2.add(gdstk.Label('Y', (3.507,1.26), layer=68, texttype=20))
sky130_fd_sc_hd__o32a_2.add(gdstk.Label('Y', (3.622,1.26), layer=68, texttype=20))
sky130_fd_sc_hd__o32a_2.add(gdstk.Label('Y', (3.737,1.26), layer=68, texttype=20))
sky130_fd_sc_hd__o32a_2.add(gdstk.Label('Y', (3.852,1.26), layer=68, texttype=20))
sky130_fd_sc_hd__o32a_2.add(gdstk.Label('Y', (3.967,1.26), layer=68, texttype=20))
sky130_fd_sc_hd__o32a_2.add(gdstk.Label('Y', (4.082,1.26), layer=68, texttype=20))
sky130_fd_sc_hd__o32a_2.add(gdstk.Label('Y', (4.197,1.26), layer=68, texttype=20))
sky130_fd_sc_hd__o32a_2.add(gdstk.Label('Y', (4.312,1.26), layer=68, texttype=20))
sky130_fd_sc_hd__o32a_2.add(gdstk.Label('Y', (4.427,1.26), layer=68, texttype=20))
sky130_fd_sc_hd__o32a_2.add(gdstk.Label('Y', (4.542,1.26), layer=68, texttype=20))
sky130_fd_sc_hd__o32a_2.add(gdstk.Label('Y', (4.657,1.26), layer=68, texttype=20))
sky130_fd_sc_hd__o32a_2.add(gdstk.Label('Y', (4.772,1.26), layer=68, texttype=20))
sky130_fd_sc_hd__o32a_2.add(gdstk.Label('Y', (4.83,1.327), layer=68, texttype=20))
sky130_fd_sc_hd__o32a_2.add(gdstk.Label('Y', (4.83,1.462), layer=68, texttype=20))
sky130_fd_sc_hd__o32a_2.add(gdstk.Label('Y', (4.83,1.597), layer=68, texttype=20))
sky130_fd_sc_hd__o32a_2.add(gdstk.Label('Y', (4.83,1.732), layer=68, texttype=20))
sky130_fd_sc_hd__o32a_2.add(gdstk.Label('PNDA', (1.035,0.585), layer=68, texttype=20))
sky130_fd_sc_hd__o32a_2.add(gdstk.Label('PNDA', (2.415,0.585), layer=68, texttype=20))
sky130_fd_sc_hd__o32a_2.add(gdstk.Label('PNDA', (3.795,0.585), layer=68, texttype=20))
sky130_fd_sc_hd__o32a_2.add(gdstk.Label('VGND', (1.725,0), layer=68, texttype=20))
sky130_fd_sc_hd__o32a_2.add(gdstk.Label('X', (5.175,0.745), layer=68, texttype=20))
sky130_fd_sc_hd__o32a_2.add(gdstk.Label('X', (5.175,2.235), layer=68, texttype=20))
sky130_fd_sc_hd__o32a_2.add(gdstk.Label('Y', (3.105,0.745), layer=68, texttype=20))
sky130_fd_sc_hd__o32a_2.add(gdstk.Label('Y', (2.415,2.235), layer=68, texttype=20))
sky130_fd_sc_hd__o32a_2.add(gdstk.Label('Y', (4.83,1.26), layer=68, texttype=20))
sky130_fd_sc_hd__o32a_2.add(gdstk.Label('Y', (4.83,1.8), layer=68, texttype=20))
sky130_fd_sc_hd__o32a_2.add(gdstk.Label('VPWR', (3.795,3.33), layer=68, texttype=20))
sky130_fd_sc_hd__o32a_2.add(gdstk.Label('VGND', (3.105,0), layer=68, texttype=5))
sky130_fd_sc_hd__o32a_2.add(gdstk.Label('VPWR', (3.105,3.33), layer=68, texttype=5))

lib.write_gds('sky130_fd_sc_hd__o32a_2.gds')
